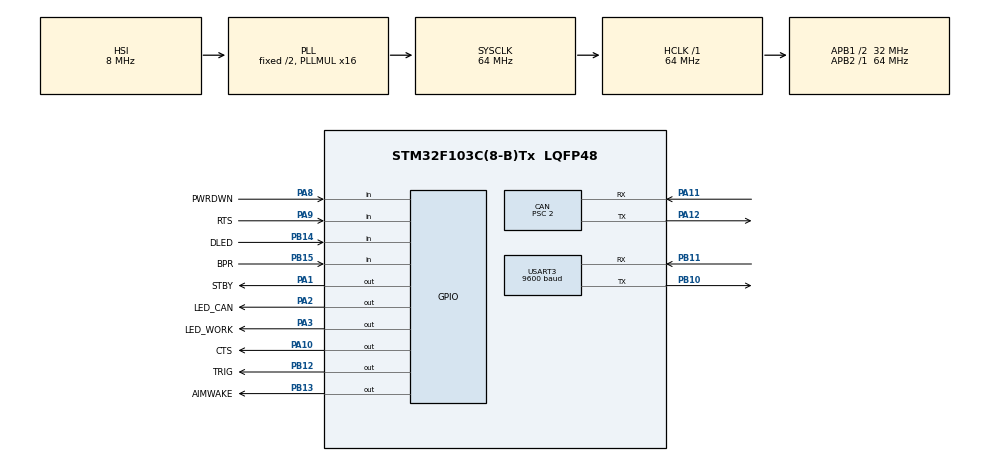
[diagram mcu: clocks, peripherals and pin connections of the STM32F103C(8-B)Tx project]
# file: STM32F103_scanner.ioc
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CAN.BS1=CAN_BS1_11TQ
CAN.BS2=CAN_BS2_4TQ
CAN.CalculateBaudRate=1000000
CAN.CalculateTimeBit=1000
CAN.CalculateTimeQuantum=62.5
CAN.NART=ENABLE
CAN.Prescaler=2
CAN.TXFP=ENABLE
Dma.Request0=USART3_RX
Dma.Request1=USART3_TX
Dma.USART3_RX.0.Direction=DMA_PERIPH_TO_MEMORY
Dma.USART3_RX.0.Instance=DMA1_Channel3
Dma.USART3_RX.0.MemDataAlignment=DMA_MDATAALIGN_BYTE
Dma.USART3_RX.0.MemInc=DMA_MINC_ENABLE
Dma.USART3_RX.0.Mode=DMA_NORMAL
Dma.USART3_RX.0.PeriphDataAlignment=DMA_PDATAALIGN_BYTE
Dma.USART3_RX.0.PeriphInc=DMA_PINC_DISABLE
Dma.USART3_RX.0.Priority=DMA_PRIORITY_LOW
Dma.USART3_TX.1.Direction=DMA_MEMORY_TO_PERIPH
Dma.USART3_TX.1.Instance=DMA1_Channel2
Dma.USART3_TX.1.MemDataAlignment=DMA_MDATAALIGN_BYTE
Dma.USART3_TX.1.MemInc=DMA_MINC_ENABLE
Dma.USART3_TX.1.Mode=DMA_NORMAL
Dma.USART3_TX.1.PeriphDataAlignment=DMA_PDATAALIGN_BYTE
Dma.USART3_TX.1.PeriphInc=DMA_PINC_DISABLE
Dma.USART3_TX.1.Priority=DMA_PRIORITY_LOW
FREERTOS.Tasks01=task_can_handle,40,256,start_task_can_handler,Default,NULL,Dynamic,NULL,NULL;task_dispatcher,24,256,start_task_dispatcher,Default,NULL,Dynamic,NULL,NULL;task_scan_contr,24,384,task_scan_controller,Default,NULL,Dynamic,NULL,NULL;task_watchdog,48,128,start_task_watchdog,Default,NULL,Dynamic,NULL,NULL
FREERTOS.configTOTAL_HEAP_SIZE=8192
IWDG.Prescaler=IWDG_PRESCALER_256
IWDG.Reload=624
Mcu.Family=STM32F1
Mcu.Name=STM32F103C(8-B)Tx
Mcu.Package=LQFP48
NVIC.CAN1_RX1_IRQn=true\:5\:0\:false\:false\:true\:true\:true\:true\:true
NVIC.CAN1_SCE_IRQn=true\:5\:0\:false\:false\:true\:true\:true\:true\:true
NVIC.DMA1_Channel2_IRQn=true\:6\:0\:true\:false\:true\:true\:false\:true\:true
NVIC.DMA1_Channel3_IRQn=true\:6\:0\:true\:false\:true\:true\:false\:true\:true
NVIC.PriorityGroup=NVIC_PRIORITYGROUP_4
NVIC.TIM4_IRQn=true\:15\:0\:false\:false\:true\:false\:false\:true\:true
NVIC.TimeBase=TIM4_IRQn
NVIC.TimeBaseIP=TIM4
NVIC.USART3_IRQn=true\:6\:0\:true\:false\:true\:true\:true\:true\:true
NVIC.USB_HP_CAN1_TX_IRQn=true\:5\:0\:false\:false\:true\:true\:true\:true\:true
NVIC.USB_LP_CAN1_RX0_IRQn=true\:5\:0\:false\:false\:true\:true\:true\:true\:true
PA1.GPIO_Label=STBY
PA1.Signal=GPIO_Output
PA10.GPIO_Label=CTS
PA10.PinState=GPIO_PIN_SET
PA10.Signal=GPIO_Output
PA11.Mode=CAN_Activate
PA11.Signal=CAN_RX
PA12.Mode=CAN_Activate
PA12.Signal=CAN_TX
PA13.Mode=Serial_Wire
PA13.Signal=SYS_JTMS-SWDIO
PA14.Mode=Serial_Wire
PA14.Signal=SYS_JTCK-SWCLK
PA2.GPIO_Label=LED_CAN
PA2.Signal=GPIO_Output
PA3.GPIO_Label=LED_WORK
PA3.Signal=GPIO_Output
PA8.GPIO_Label=PWRDWN
PA8.Signal=GPIO_Input
PA9.GPIO_Label=RTS
PA9.Signal=GPIO_Input
PB10.Mode=Asynchronous
PB10.Signal=USART3_TX
PB11.Mode=Asynchronous
PB11.Signal=USART3_RX
PB12.GPIO_Label=TRIG
PB12.PinState=GPIO_PIN_SET
PB12.Signal=GPIO_Output
PB13.GPIO_Label=AIMWAKE
PB13.PinState=GPIO_PIN_SET
PB13.Signal=GPIO_Output
PB14.GPIO_Label=DLED
PB14.Signal=GPIO_Input
PB15.GPIO_Label=BPR
PB15.Signal=GPIO_Input
ProjectManager.HeapSize=0x200
ProjectManager.StackSize=0x400
ProjectManager.TargetToolchain=STM32CubeIDE
RCC.AHBFreq_Value=64000000
RCC.APB1CLKDivider=RCC_HCLK_DIV2
RCC.APB1Freq_Value=32000000
RCC.APB1TimFreq_Value=64000000
RCC.APB2Freq_Value=64000000
RCC.APB2TimFreq_Value=64000000
RCC.HCLKFreq_Value=64000000
RCC.PLLMUL=RCC_PLL_MUL16
RCC.SYSCLKFreq_VALUE=64000000
RCC.SYSCLKSource=RCC_SYSCLKSOURCE_PLLCLK
RCC.USBFreq_Value=64000000
USART3.BaudRate=9600
USART3.VirtualMode=VM_ASYNC
VP_FREERTOS_VS_CMSIS_V2.Mode=CMSIS_V2
VP_IWDG_VS_IWDG.Mode=IWDG_Activate
VP_SYS_VS_tim4.Mode=TIM4
board=custom

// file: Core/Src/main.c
/* USER CODE BEGIN Header */
/**
 ******************************************************************************
 * @file           : main.c
 * @brief          : Main program body
 ******************************************************************************
 * @attention
 *
 * Copyright (c) 2026 STMicroelectronics.
 * All rights reserved.
 *
 * This software is licensed under terms that can be found in the LICENSE file
 * in the root directory of this software component.
 * If no LICENSE file comes with this software, it is provided AS-IS.
 *
 ******************************************************************************
 */
/* USER CODE END Header */
#include "main.h"
#include "cmsis_os.h"

/* USER CODE BEGIN Includes */
#include "app_queues.h"
#include "app_config.h"
#include "task_can_handler.h"
#include "task_dispatcher.h"
#include "task_scan_controller.h"
#include "app_flash.h"
#include "task_watchdog.h"
#include "app_safety.h"
/* USER CODE END Includes */

CAN_HandleTypeDef hcan;

IWDG_HandleTypeDef hiwdg;

UART_HandleTypeDef huart3;
DMA_HandleTypeDef hdma_usart3_rx;
DMA_HandleTypeDef hdma_usart3_tx;

/* Definitions for task_can_handle */
osThreadId_t task_can_handleHandle;
const osThreadAttr_t task_can_handle_attributes = { .name = "task_can_handle",
		.stack_size = 256 * 4, .priority = (osPriority_t) osPriorityHigh, };
/* Definitions for task_dispatcher */
osThreadId_t task_dispatcherHandle;
const osThreadAttr_t task_dispatcher_attributes = { .name = "task_dispatcher",
		.stack_size = 256 * 4, .priority = (osPriority_t) osPriorityNormal, };
/* Definitions for task_scan_contr */
osThreadId_t task_scan_contrHandle;
const osThreadAttr_t task_scan_contr_attributes = { .name = "task_scan_contr",
		.stack_size = 384 * 4, .priority = (osPriority_t) osPriorityNormal, };
/* Definitions for task_watchdog */
osThreadId_t task_watchdogHandle;
const osThreadAttr_t task_watchdog_attributes = { .name = "task_watchdog",
		.stack_size = 128 * 4, .priority = (osPriority_t) osPriorityRealtime, };
/* USER CODE BEGIN PV */

osMessageQueueId_t can_rx_queueHandle;
osMessageQueueId_t can_tx_queueHandle;
osMessageQueueId_t dispatcher_queueHandle;
osMessageQueueId_t scan_queueHandle;

/* USER CODE END PV */

void SystemClock_Config(void);
static void MX_GPIO_Init(void);
static void MX_DMA_Init(void);
static void MX_CAN_Init(void);
static void MX_USART3_UART_Init(void);
static void MX_IWDG_Init(void);
void start_task_can_handler(void *argument);
void start_task_dispatcher(void *argument);
void task_scan_controller(void *argument);
void start_task_watchdog(void *argument);

int main(void) {

	/* MCU Configuration--------------------------------------------------------*/

	/* Reset of all peripherals, Initializes the Flash interface and the Systick. */
	HAL_Init();

	/* Configure the system clock */
	SystemClock_Config();

	/* Initialize all configured peripherals */
	MX_GPIO_Init();
	MX_DMA_Init();
	MX_CAN_Init();
	MX_USART3_UART_Init();
	MX_IWDG_Init();
	/* USER CODE BEGIN 2 */
	AppConfig_Init();
	AppSafety_AllOff();

	/* USER CODE END 2 */

	/* Init scheduler */
	osKernelInitialize();

	/* USER CODE BEGIN RTOS_QUEUES */
	can_rx_queueHandle = osMessageQueueNew(CAN_RX_QUEUE_LEN,
			sizeof(CanRxFrame_t), NULL);
	can_tx_queueHandle = osMessageQueueNew(CAN_TX_QUEUE_LEN,
			sizeof(CanTxFrame_t), NULL);
	dispatcher_queueHandle = osMessageQueueNew(DISPATCHER_QUEUE_LEN,
			sizeof(ParsedCanCommand_t), NULL);
	scan_queueHandle = osMessageQueueNew(SCAN_QUEUE_LEN, sizeof(ScanResult_t),
	NULL);

	// --- Проверка создания обязательных очередей ---
	/*
	 * Все четыре очереди необходимы для работы Executor.
	 * При отказе прекращаем запуск до создания задач.
	 */
	if ((can_rx_queueHandle == NULL) || (can_tx_queueHandle == NULL)
			|| (dispatcher_queueHandle == NULL) || (scan_queueHandle == NULL)) {
		AppSafety_AllOff();
		Error_Handler();
	}
	/* USER CODE END RTOS_QUEUES */

	/* Create the thread(s) */
	/* creation of task_can_handle */
	task_can_handleHandle = osThreadNew(start_task_can_handler, NULL,
			&task_can_handle_attributes);

	/* creation of task_dispatcher */
	task_dispatcherHandle = osThreadNew(start_task_dispatcher, NULL,
			&task_dispatcher_attributes);

	/* creation of task_scan_contr */
	task_scan_contrHandle = osThreadNew(task_scan_controller, NULL,
			&task_scan_contr_attributes);

	/* creation of task_watchdog */
	task_watchdogHandle = osThreadNew(start_task_watchdog, NULL,
			&task_watchdog_attributes);

	/* USER CODE BEGIN RTOS_THREADS */
	/* add threads, ... */
	// --- Проверка создания обязательных задач ---
	/*
	 * До запуска планировщика проверяем полный набор задач.
	 * При отказе прекращаем запуск Executor через safe-state.
	 */
	if ((task_watchdogHandle == NULL) || (task_can_handleHandle == NULL)
			|| (task_dispatcherHandle == NULL)
			|| (task_scan_contrHandle == NULL)) {
		AppSafety_AllOff();
		Error_Handler();
	}
	/* USER CODE END RTOS_THREADS */

	/* Start scheduler */
	osKernelStart();

	/* We should never get here as control is now taken by the scheduler */

	/* Infinite loop */
	while (1) {

	}
}

void SystemClock_Config(void) {
	RCC_OscInitTypeDef RCC_OscInitStruct = { 0 };
	RCC_ClkInitTypeDef RCC_ClkInitStruct = { 0 };

	/** Initializes the RCC Oscillators according to the specified parameters
	 * in the RCC_OscInitTypeDef structure.
	 */
	RCC_OscInitStruct.OscillatorType = RCC_OSCILLATORTYPE_HSI
			| RCC_OSCILLATORTYPE_LSI;
	RCC_OscInitStruct.HSIState = RCC_HSI_ON;
	RCC_OscInitStruct.HSICalibrationValue = RCC_HSICALIBRATION_DEFAULT;
	RCC_OscInitStruct.LSIState = RCC_LSI_ON;
	RCC_OscInitStruct.PLL.PLLState = RCC_PLL_ON;
	RCC_OscInitStruct.PLL.PLLSource = RCC_PLLSOURCE_HSI_DIV2;
	RCC_OscInitStruct.PLL.PLLMUL = RCC_PLL_MUL16;
	if (HAL_RCC_OscConfig(&RCC_OscInitStruct) != HAL_OK) {
		Error_Handler();
	}

	/** Initializes the CPU, AHB and APB buses clocks
	 */
	RCC_ClkInitStruct.ClockType = RCC_CLOCKTYPE_HCLK | RCC_CLOCKTYPE_SYSCLK
			| RCC_CLOCKTYPE_PCLK1 | RCC_CLOCKTYPE_PCLK2;
	RCC_ClkInitStruct.SYSCLKSource = RCC_SYSCLKSOURCE_PLLCLK;
	RCC_ClkInitStruct.AHBCLKDivider = RCC_SYSCLK_DIV1;
	RCC_ClkInitStruct.APB1CLKDivider = RCC_HCLK_DIV2;
	RCC_ClkInitStruct.APB2CLKDivider = RCC_HCLK_DIV1;

	if (HAL_RCC_ClockConfig(&RCC_ClkInitStruct, FLASH_LATENCY_2) != HAL_OK) {
		Error_Handler();
	}
}

static void MX_CAN_Init(void) {

	hcan.Instance = CAN1;
	hcan.Init.Prescaler = 2;
	hcan.Init.Mode = CAN_MODE_NORMAL;
	hcan.Init.SyncJumpWidth = CAN_SJW_1TQ;
	hcan.Init.TimeSeg1 = CAN_BS1_11TQ;
	hcan.Init.TimeSeg2 = CAN_BS2_4TQ;
	hcan.Init.TimeTriggeredMode = DISABLE;
	hcan.Init.AutoBusOff = DISABLE;
	hcan.Init.AutoWakeUp = DISABLE;
	hcan.Init.AutoRetransmission = ENABLE;
	hcan.Init.ReceiveFifoLocked = DISABLE;
	hcan.Init.TransmitFifoPriority = ENABLE;
	if (HAL_CAN_Init(&hcan) != HAL_OK) {
		Error_Handler();
	}

}

static void MX_IWDG_Init(void) {

	hiwdg.Instance = IWDG;
	hiwdg.Init.Prescaler = IWDG_PRESCALER_256;
	hiwdg.Init.Reload = 624;
	if (HAL_IWDG_Init(&hiwdg) != HAL_OK) {
		Error_Handler();
	}

}

static void MX_USART3_UART_Init(void) {

	huart3.Instance = USART3;
	huart3.Init.BaudRate = 9600;
	huart3.Init.WordLength = UART_WORDLENGTH_8B;
	huart3.Init.StopBits = UART_STOPBITS_1;
	huart3.Init.Parity = UART_PARITY_NONE;
	huart3.Init.Mode = UART_MODE_TX_RX;
	huart3.Init.HwFlowCtl = UART_HWCONTROL_NONE;
	huart3.Init.OverSampling = UART_OVERSAMPLING_16;
	if (HAL_UART_Init(&huart3) != HAL_OK) {
		Error_Handler();
	}

}

static void MX_DMA_Init(void) {

	/* DMA controller clock enable */
	__HAL_RCC_DMA1_CLK_ENABLE();

	/* DMA interrupt init */
	/* DMA1_Channel2_IRQn interrupt configuration */
	HAL_NVIC_SetPriority(DMA1_Channel2_IRQn, 6, 0);
	HAL_NVIC_EnableIRQ(DMA1_Channel2_IRQn);
	/* DMA1_Channel3_IRQn interrupt configuration */
	HAL_NVIC_SetPriority(DMA1_Channel3_IRQn, 6, 0);
	HAL_NVIC_EnableIRQ(DMA1_Channel3_IRQn);

}

static void MX_GPIO_Init(void) {
	GPIO_InitTypeDef GPIO_InitStruct = { 0 };

	/* GPIO Ports Clock Enable */
	__HAL_RCC_GPIOA_CLK_ENABLE();
	__HAL_RCC_GPIOB_CLK_ENABLE();

	/*Configure GPIO pin Output Level */
	HAL_GPIO_WritePin(GPIOA, STBY_Pin | LED_CAN_Pin | LED_WORK_Pin,
			GPIO_PIN_RESET);

	/*Configure GPIO pin Output Level */
	HAL_GPIO_WritePin(GPIOB, TRIG_Pin | AIMWAKE_Pin, GPIO_PIN_SET);

	/*Configure GPIO pin Output Level */
	HAL_GPIO_WritePin(CTS_GPIO_Port, CTS_Pin, GPIO_PIN_SET);

	/*Configure GPIO pins : STBY_Pin LED_CAN_Pin LED_WORK_Pin CTS_Pin */
	GPIO_InitStruct.Pin = STBY_Pin | LED_CAN_Pin | LED_WORK_Pin | CTS_Pin;
	GPIO_InitStruct.Mode = GPIO_MODE_OUTPUT_PP;
	GPIO_InitStruct.Pull = GPIO_NOPULL;
	GPIO_InitStruct.Speed = GPIO_SPEED_FREQ_LOW;
	HAL_GPIO_Init(GPIOA, &GPIO_InitStruct);

	/*Configure GPIO pins : TRIG_Pin AIMWAKE_Pin */
	GPIO_InitStruct.Pin = TRIG_Pin | AIMWAKE_Pin;
	GPIO_InitStruct.Mode = GPIO_MODE_OUTPUT_PP;
	GPIO_InitStruct.Pull = GPIO_NOPULL;
	GPIO_InitStruct.Speed = GPIO_SPEED_FREQ_LOW;
	HAL_GPIO_Init(GPIOB, &GPIO_InitStruct);

	/*Configure GPIO pins : DLED_Pin BPR_Pin */
	GPIO_InitStruct.Pin = DLED_Pin | BPR_Pin;
	GPIO_InitStruct.Mode = GPIO_MODE_INPUT;
	GPIO_InitStruct.Pull = GPIO_NOPULL;
	HAL_GPIO_Init(GPIOB, &GPIO_InitStruct);

	/*Configure GPIO pins : PWRDWN_Pin RTS_Pin */
	GPIO_InitStruct.Pin = PWRDWN_Pin | RTS_Pin;
	GPIO_InitStruct.Mode = GPIO_MODE_INPUT;
	GPIO_InitStruct.Pull = GPIO_NOPULL;
	HAL_GPIO_Init(GPIOA, &GPIO_InitStruct);

}

void start_task_can_handler(void *argument) {
	/* USER CODE BEGIN 5 */
	app_start_task_can_handler(argument);
	/* Infinite loop */
	for (;;) {
		osDelay(1);
	}
	/* USER CODE END 5 */
}

void start_task_dispatcher(void *argument) {
	/* USER CODE BEGIN start_task_dispatcher */
	app_start_task_dispatcher(argument);
	/* Infinite loop */
	for (;;) {
		osDelay(1);
	}
	/* USER CODE END start_task_dispatcher */
}

void task_scan_controller(void *argument) {
	/* USER CODE BEGIN task_scan_controller */
	app_start_task_scan_controller(argument);
	/* Infinite loop */
	for (;;) {
		osDelay(1);
	}
	/* USER CODE END task_scan_controller */
}

void start_task_watchdog(void *argument) {
	/* USER CODE BEGIN start_task_watchdog */
	app_start_task_watchdog(argument);
	/* Infinite loop */
	for (;;) {
		osDelay(1);
	}
	/* USER CODE END start_task_watchdog */
}

void HAL_TIM_PeriodElapsedCallback(TIM_HandleTypeDef *htim) {
	if (htim->Instance == TIM4) {
		HAL_IncTick();
	}
}

void Error_Handler(void) {
	/* USER CODE BEGIN Error_Handler_Debug */
	/* User can add his own implementation to report the HAL error return state */

	// --- Терминальный аварийный останов ---
	/*
	 * Запрещаем переключение задач до отпускания управляющих линий.
	 * Штатное управление не возобновляется.
	 * RTOS, CAN и обслуживание IWDG здесь не используются.
	 */
	__disable_irq();
	AppSafety_AllOff();
	__DSB();
	__ISB();

	// --- Ожидание аппаратного сброса ---
	/*
	 * Запущенный IWDG выполнит reset по своему таймауту.
	 * До запуска IWDG ожидаем внешнего сброса.
	 */
	while (1) {
	}
	/* USER CODE END Error_Handler_Debug */
}
